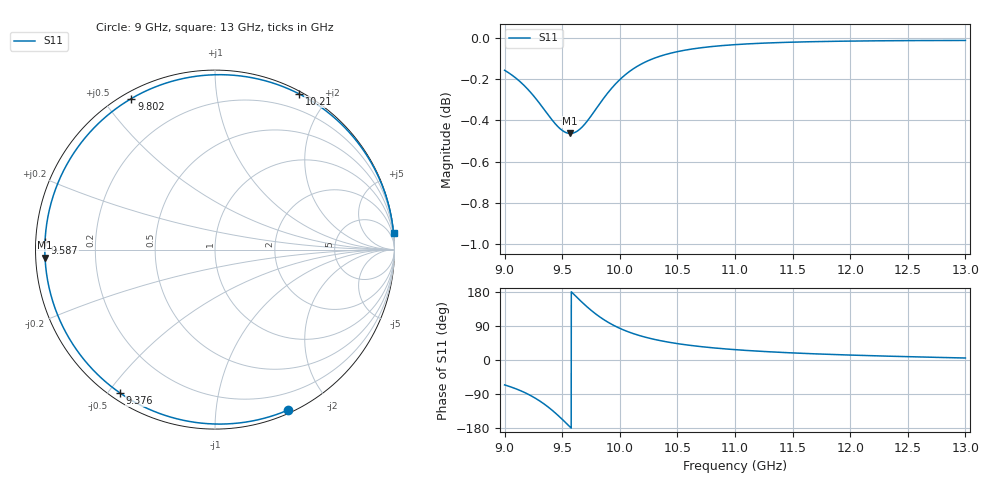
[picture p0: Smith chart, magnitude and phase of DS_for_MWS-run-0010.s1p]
! TOUCHSTONE file generated by CST DESIGN STUDIO
! Date and time: Tue Feb  4 13:59:23 2025
! Project name: C:\Work\MatlabApps\UnitCellOptimizationMatlab\CST\unitcell.cst
! Tree item: Tasks\Sweep1\SPara1\S-Parameters
! Header version: 2024
! Port assignment regex: !\s*Touchstone port\s*([0-9]+)\s*=\s*(CST MWS port|CST DES external port|CST DES block port)\s*(.+)\s* \(\"(.*)\"\)(\s*mode\s*([0-9]+))?.*
! Touchstone port assignment:
! Touchstone port 1 = CST DES external port 1 ("")
# GHz S MA R 50
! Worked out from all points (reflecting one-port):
!   4001 points, 9 GHz to 13 GHz, reference 50 ohm
!   lowest |S11| = -0.5 dB at 9.57 GHz (marker M1), VSWR 37.49, Z = 1.33 - j1.19 ohm
!   phase of S11 starts at -66 deg and turns -289 deg over the sweep
!   S11 on the Smith chart (normalised r, x): 9 GHz: 0.03, -1.55; 9.376 GHz: 0.03, -0.54; 9.587 GHz: 0.03, +0.02; 9.802 GHz: 0.03, +0.59; 10.21 GHz: 0.03, +1.68; 13 GHz: 0, +22
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9  0.9822 -65.7
9.044  0.9804 -70.0
9.112  0.9771 -77.7
9.227  0.97 -94.0
9.306  0.9639 -108.3
9.376  0.9581 -123.6
9.437  0.9534 -138.9
9.5  0.9497 -156.5
9.536  0.9484 -167.1
9.57  0.948 -177.3
9.587  0.9481 177.6
9.642  0.9498 161.1
9.702  0.9535 144.0
9.752  0.9575 130.9
9.802  0.9619 119.0
9.845  0.9656 109.7
9.891  0.9694 100.9
10  0.977 83.6
10.098  0.9821 71.7
10.205  0.9862 61.5
10.34  0.9897 51.8
10.5  0.9925 43.2
10.721  0.9947 34.8
11  0.9964 27.3
11.5  0.9977 18.7
12  0.9983 13.0
12.5  0.9986 8.8
13  0.9987 5.2
